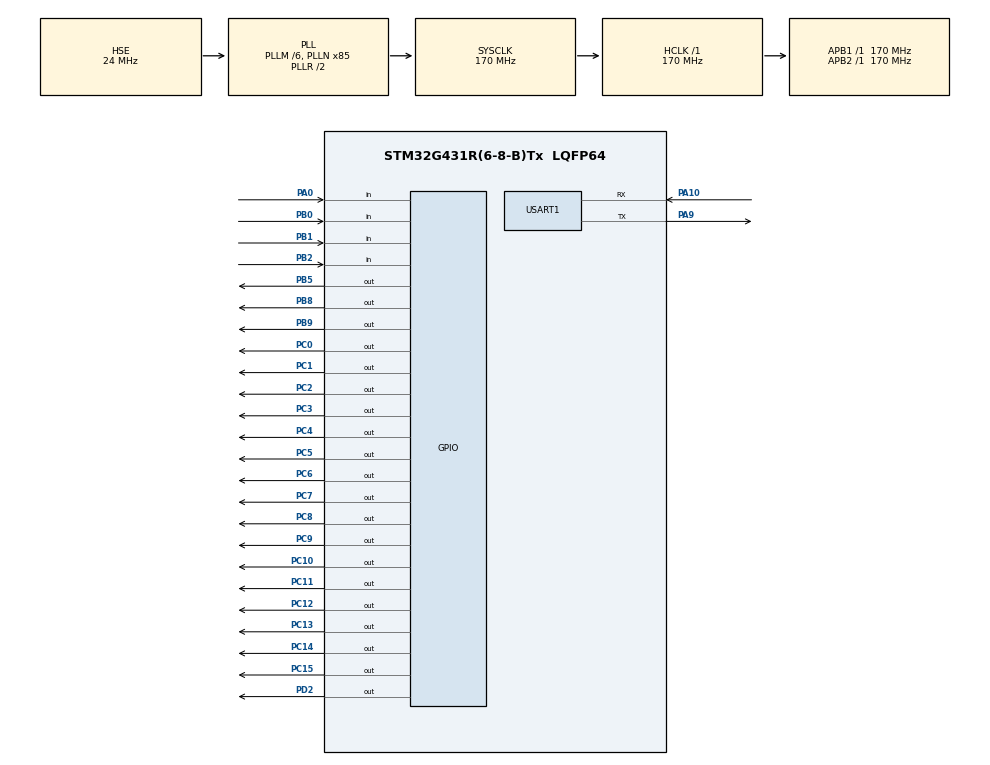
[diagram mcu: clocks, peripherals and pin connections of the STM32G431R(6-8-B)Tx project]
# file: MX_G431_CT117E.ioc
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Mcu.Family=STM32G4
Mcu.Name=STM32G431R(6-8-B)Tx
Mcu.Package=LQFP64
NVIC.PriorityGroup=NVIC_PRIORITYGROUP_4
NVIC.TIM3_IRQn=true\:0\:0\:false\:false\:true\:true\:true\:true
NVIC.TIM7_IRQn=true\:0\:0\:false\:false\:true\:true\:true\:true
PA0.Signal=GPIO_Input
PA10.Mode=Asynchronous
PA10.Signal=USART1_RX
PA13.Mode=Serial_Wire
PA13.Signal=SYS_JTMS-SWDIO
PA14.Mode=Serial_Wire
PA14.Signal=SYS_JTCK-SWCLK
PA7.Signal=S_TIM3_CH2
PA9.Mode=Asynchronous
PA9.Signal=USART1_TX
PB0.Signal=GPIO_Input
PB1.Signal=GPIO_Input
PB2.Signal=GPIO_Input
PB5.Signal=GPIO_Output
PB8-BOOT0.Signal=GPIO_Output
PB9.Signal=GPIO_Output
PC0.Signal=GPIO_Output
PC1.Signal=GPIO_Output
PC10.GPIO_Speed=GPIO_SPEED_FREQ_LOW
PC10.PinState=GPIO_PIN_SET
PC10.Signal=GPIO_Output
PC11.GPIO_Speed=GPIO_SPEED_FREQ_LOW
PC11.PinState=GPIO_PIN_SET
PC11.Signal=GPIO_Output
PC12.GPIO_Speed=GPIO_SPEED_FREQ_LOW
PC12.PinState=GPIO_PIN_SET
PC12.Signal=GPIO_Output
PC13.PinState=GPIO_PIN_SET
PC13.Signal=GPIO_Output
PC14-OSC32_IN.PinState=GPIO_PIN_SET
PC14-OSC32_IN.Signal=GPIO_Output
PC15-OSC32_OUT.PinState=GPIO_PIN_SET
PC15-OSC32_OUT.Signal=GPIO_Output
PC2.Signal=GPIO_Output
PC3.Signal=GPIO_Output
PC4.Signal=GPIO_Output
PC5.Signal=GPIO_Output
PC6.Signal=GPIO_Output
PC7.Signal=GPIO_Output
PC8.GPIO_Speed=GPIO_SPEED_FREQ_LOW
PC8.PinState=GPIO_PIN_SET
PC8.Signal=GPIO_Output
PC9.GPIO_Speed=GPIO_SPEED_FREQ_LOW
PC9.PinState=GPIO_PIN_SET
PC9.Signal=GPIO_Output
PD2.GPIO_Speed=GPIO_SPEED_FREQ_VERY_HIGH
PD2.Signal=GPIO_Output
PF0-OSC_IN.Mode=HSE-External-Oscillator
PF0-OSC_IN.Signal=RCC_OSC_IN
PF1-OSC_OUT.Mode=HSE-External-Oscillator
PF1-OSC_OUT.Signal=RCC_OSC_OUT
ProjectManager.HeapSize=0x200
ProjectManager.StackSize=0x400
ProjectManager.TargetToolchain=MDK-ARM V5.32
RCC.ADC12Freq_Value=170000000
RCC.AHBFreq_Value=170000000
RCC.APB1Freq_Value=170000000
RCC.APB1TimFreq_Value=170000000
RCC.APB2Freq_Value=170000000
RCC.APB2TimFreq_Value=170000000
RCC.CortexFreq_Value=170000000
RCC.EXTERNAL_CLOCK_VALUE=12288000
RCC.HCLKFreq_Value=170000000
RCC.HSE_VALUE=24000000
RCC.HSI48_VALUE=48000000
RCC.HSI_VALUE=16000000
RCC.LSE_VALUE=32768
RCC.PLLM=RCC_PLLM_DIV6
RCC.PLLN=85
RCC.PLLSourceVirtual=RCC_PLLSOURCE_HSE
RCC.SYSCLKFreq_VALUE=170000000
RCC.SYSCLKSource=RCC_SYSCLKSOURCE_PLLCLK
RCC.USBFreq_Value=170000000
RCC.VCOOutputFreq_Value=340000000
SH.S_TIM3_CH2.0=TIM3_CH2
TIM3.Channel-Output\ Compare3\ No\ Output=TIM_CHANNEL_3
TIM7.PeriodNoDither=1000-1
TIM7.Prescaler=170-1
USART1.VirtualMode-Asynchronous=VM_ASYNC
VP_SYS_VS_DBSignals.Mode=DisableDeadBatterySignals
VP_TIM3_VS_ClockSourceINT.Mode=Internal
VP_TIM3_VS_no_output3.Mode=Output Compare3 No Output
VP_TIM7_VS_ClockSourceINT.Mode=Enable_Timer
board=custom

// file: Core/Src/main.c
/* USER CODE BEGIN Header */
/**
  ******************************************************************************
  * @file           : main.c
  * @brief          : Main program body
  ******************************************************************************
  * @attention
  *
  * <h2><center>&copy; Copyright (c) 2021 STMicroelectronics.
  * All rights reserved.</center></h2>
  *
  * This software component is licensed by ST under Ultimate Liberty license
  * SLA0044, the "License"; You may not use this file except in compliance with
  * the License. You may obtain a copy of the License at:
  *                             www.st.com/SLA0044
  *
  ******************************************************************************
  */
/* USER CODE END Header */
#include "main.h"
#include "tim.h"
#include "usart.h"
#include "gpio.h"

/* USER CODE BEGIN Includes */
#include <stdio.h>
#include "lcd.h"
#include "stm32_hal_core.h"
/* USER CODE END Includes */

void SystemClock_Config(void);

/* USER CODE BEGIN 0 */
void CORE_callback_1(const char *topic, void *arg, size_t siz)
{
  char outBuf[64];
  uint16_t speed;
  CORE_speed(topic,&speed);
  sprintf(outBuf,"%d %s : %d",siz, (char*)arg,speed);

	LCD_DisplayStringLine(Line0,(u8*)outBuf);
}
void CORE_callback_2(const char *topic, void *arg, size_t siz)
{
  char outBuf[64];
  uint16_t speed;
  CORE_speed(topic,&speed);
  sprintf(outBuf,"%d %s : %d",siz, (char*)arg,speed);

	LCD_DisplayStringLine(Line1,(u8*)outBuf);
}
void CORE_callback_9(const char *topic, void *arg, size_t siz)
{
  char outBuf[64];
  uint16_t speed;
  CORE_speed(topic,&speed);
  sprintf(outBuf,"%d %s : %d",siz, (char*)arg,speed);

	LCD_DisplayStringLine(Line8,(u8*)outBuf);
}
void CORE_callback_all2(const char *topic, void *arg, size_t siz)
{
  char outBuf[64];
  uint16_t speed;
  CORE_speed("*",&speed);
  sprintf(outBuf,"%d %s : %d",siz, (char*)arg,speed);

	LCD_DisplayStringLine(Line9,(u8*)outBuf);
}
void CORE_callback_all(const char *topic, void *arg, size_t siz)
{
	CORE_subscribe(arg,CORE_callback_all2);
}

void timer_callback_1(void *arg)
{
  char outBuf[64];
  sprintf(outBuf,"%u",CORE_Timer_GetCurrentTime_ms());
  CORE_publish_str("789",outBuf,0);

}

void run_task_1(void *arg)
{
  char outBuf[64];
  sprintf(outBuf,"%u",CORE_Timer_GetCurrentTime_ms());
  CORE_publish_str(arg,outBuf,0);

}

/* USER CODE END 0 */

int main(void)
{

  /* MCU Configuration--------------------------------------------------------*/

  /* Reset of all peripherals, Initializes the Flash interface and the Systick. */
  HAL_Init();

  /* Configure the system clock */
  SystemClock_Config();

  /* Initialize all configured peripherals */
  MX_GPIO_Init();
  MX_TIM3_Init();
  MX_USART1_UART_Init();
  MX_TIM7_Init();
  /* USER CODE BEGIN 2 */
  LCD_Init();
  LCD_Clear(Black);

  core_init();

	CORE_subscribe("CORE_subscribe",CORE_callback_all);
	CORE_subscribe("123",CORE_callback_1);
	CORE_subscribe("456",CORE_callback_2);
	CORE_subscribe("789",CORE_callback_9);

  CORE_Timer_add_task(timer_callback_1,NULL,20);
  CORE_Run_add_task(run_task_1,"123");
  CORE_Timer_add_task(run_task_1,"456",10);

  /* USER CODE END 2 */

  /* Infinite loop */
  /* USER CODE BEGIN WHILE */
  while (1)
  {

    core_loop();
    /* USER CODE END WHILE */

  }
}

void SystemClock_Config(void)
{
  RCC_OscInitTypeDef RCC_OscInitStruct = {0};
  RCC_ClkInitTypeDef RCC_ClkInitStruct = {0};

  /** Configure the main internal regulator output voltage
  */
  HAL_PWREx_ControlVoltageScaling(PWR_REGULATOR_VOLTAGE_SCALE1_BOOST);

  /** Initializes the RCC Oscillators according to the specified parameters
  * in the RCC_OscInitTypeDef structure.
  */
  RCC_OscInitStruct.OscillatorType = RCC_OSCILLATORTYPE_HSE;
  RCC_OscInitStruct.HSEState = RCC_HSE_ON;
  RCC_OscInitStruct.PLL.PLLState = RCC_PLL_ON;
  RCC_OscInitStruct.PLL.PLLSource = RCC_PLLSOURCE_HSE;
  RCC_OscInitStruct.PLL.PLLM = RCC_PLLM_DIV6;
  RCC_OscInitStruct.PLL.PLLN = 85;
  RCC_OscInitStruct.PLL.PLLP = RCC_PLLP_DIV2;
  RCC_OscInitStruct.PLL.PLLQ = RCC_PLLQ_DIV2;
  RCC_OscInitStruct.PLL.PLLR = RCC_PLLR_DIV2;
  if (HAL_RCC_OscConfig(&RCC_OscInitStruct) != HAL_OK)
  {
    Error_Handler();
  }

  /** Initializes the CPU, AHB and APB buses clocks
  */
  RCC_ClkInitStruct.ClockType = RCC_CLOCKTYPE_HCLK|RCC_CLOCKTYPE_SYSCLK
                              |RCC_CLOCKTYPE_PCLK1|RCC_CLOCKTYPE_PCLK2;
  RCC_ClkInitStruct.SYSCLKSource = RCC_SYSCLKSOURCE_PLLCLK;
  RCC_ClkInitStruct.AHBCLKDivider = RCC_SYSCLK_DIV1;
  RCC_ClkInitStruct.APB1CLKDivider = RCC_HCLK_DIV1;
  RCC_ClkInitStruct.APB2CLKDivider = RCC_HCLK_DIV1;

  if (HAL_RCC_ClockConfig(&RCC_ClkInitStruct, FLASH_LATENCY_4) != HAL_OK)
  {
    Error_Handler();
  }
}

void Error_Handler(void)
{
  __disable_irq();
  while (1)
  {
  }
}
